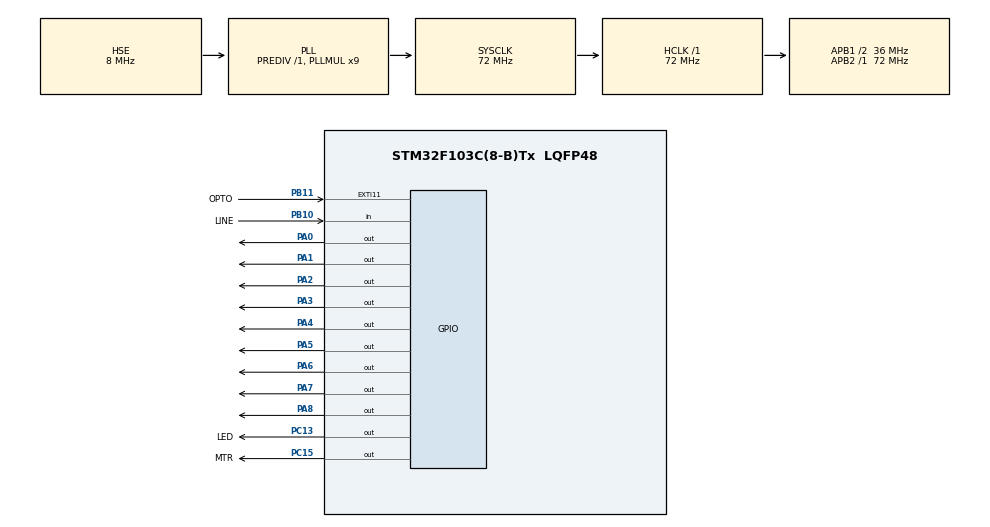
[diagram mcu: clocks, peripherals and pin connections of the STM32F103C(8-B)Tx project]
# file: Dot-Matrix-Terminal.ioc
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Mcu.Family=STM32F1
Mcu.Name=STM32F103C(8-B)Tx
Mcu.Package=LQFP48
NVIC.EXTI15_10_IRQn=true\:0\:0\:false\:true\:true\:1\:true\:true\:true
NVIC.PriorityGroup=NVIC_PRIORITYGROUP_4
NVIC.TIM2_IRQn=true\:0\:0\:false\:false\:true\:true\:true\:true
PA0-WKUP.Signal=GPIO_Output
PA1.Signal=GPIO_Output
PA13.Mode=Serial_Wire
PA13.Signal=SYS_JTMS-SWDIO
PA14.Mode=Serial_Wire
PA14.Signal=SYS_JTCK-SWCLK
PA2.Signal=GPIO_Output
PA3.Signal=GPIO_Output
PA4.Signal=GPIO_Output
PA5.Signal=GPIO_Output
PA6.Signal=GPIO_Output
PA7.Signal=GPIO_Output
PA8.Signal=GPIO_Output
PB10.GPIO_Label=LINE
PB10.Signal=GPIO_Input
PB11.GPIO_Label=OPTO
PB11.GPIO_ModeDefaultEXTI=GPIO_MODE_IT_RISING
PB11.GPIO_PuPd=GPIO_PULLUP
PB11.Signal=GPXTI11
PC13-TAMPER-RTC.GPIO_Label=LED
PC13-TAMPER-RTC.Signal=GPIO_Output
PC15-OSC32_OUT.GPIO_Label=MTR
PC15-OSC32_OUT.Signal=GPIO_Output
PD0-OSC_IN.Mode=HSE-External-Oscillator
PD0-OSC_IN.Signal=RCC_OSC_IN
PD1-OSC_OUT.Mode=HSE-External-Oscillator
PD1-OSC_OUT.Signal=RCC_OSC_OUT
ProjectManager.HeapSize=0x200
ProjectManager.StackSize=0x400
ProjectManager.TargetToolchain=Makefile
RCC.AHBFreq_Value=72000000
RCC.APB1CLKDivider=RCC_HCLK_DIV2
RCC.APB1Freq_Value=36000000
RCC.APB1TimFreq_Value=72000000
RCC.APB2Freq_Value=72000000
RCC.APB2TimFreq_Value=72000000
RCC.HCLKFreq_Value=72000000
RCC.PLLMUL=RCC_PLL_MUL9
RCC.PLLSourceVirtual=RCC_PLLSOURCE_HSE
RCC.SYSCLKFreq_VALUE=72000000
RCC.SYSCLKSource=RCC_SYSCLKSOURCE_PLLCLK
RCC.USBFreq_Value=72000000
TIM2.Channel-Output\ Compare1\ No\ Output=TIM_CHANNEL_1
TIM2.Period=10000
TIM2.Prescaler=7199
VP_TIM2_VS_ClockSourceINT.Mode=Internal
VP_TIM2_VS_OPM.Mode=OPM_bit
VP_TIM2_VS_no_output1.Mode=Output Compare1 No Output
board=custom

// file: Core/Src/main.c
/* USER CODE BEGIN Header */
/**
  ******************************************************************************
  * @file           : main.c
  * @brief          : Main program body
  ******************************************************************************
  * @attention
  *
  * Copyright (c) 2024 STMicroelectronics.
  * All rights reserved.
  *
  * This software is licensed under terms that can be found in the LICENSE file
  * in the root directory of this software component.
  * If no LICENSE file comes with this software, it is provided AS-IS.
  *
  ******************************************************************************
  */
/* USER CODE END Header */
#include "main.h"
#include "PrinterFont.h"

TIM_HandleTypeDef htim2;

void SystemClock_Config(void);
static void MX_GPIO_Init(void);
static void MX_TIM2_Init(void);
static void MX_NVIC_Init(void);

int main(void)
{

  /* MCU Configuration--------------------------------------------------------*/

  /* Reset of all peripherals, Initializes the Flash interface and the Systick. */
  HAL_Init();

  /* Configure the system clock */
  SystemClock_Config();

  /* Initialize all configured peripherals */
  MX_GPIO_Init();
  MX_TIM2_Init();

  /* Initialize interrupts */
  MX_NVIC_Init();

  /* Infinite loop */
  while (1)
  {

  }
}

void SystemClock_Config(void)
{
  RCC_OscInitTypeDef RCC_OscInitStruct = {0};
  RCC_ClkInitTypeDef RCC_ClkInitStruct = {0};

  /** Initializes the RCC Oscillators according to the specified parameters
  * in the RCC_OscInitTypeDef structure.
  */
  RCC_OscInitStruct.OscillatorType = RCC_OSCILLATORTYPE_HSE;
  RCC_OscInitStruct.HSEState = RCC_HSE_ON;
  RCC_OscInitStruct.HSEPredivValue = RCC_HSE_PREDIV_DIV1;
  RCC_OscInitStruct.HSIState = RCC_HSI_ON;
  RCC_OscInitStruct.PLL.PLLState = RCC_PLL_ON;
  RCC_OscInitStruct.PLL.PLLSource = RCC_PLLSOURCE_HSE;
  RCC_OscInitStruct.PLL.PLLMUL = RCC_PLL_MUL9;
  if (HAL_RCC_OscConfig(&RCC_OscInitStruct) != HAL_OK)
  {
    Error_Handler();
  }

  /** Initializes the CPU, AHB and APB buses clocks
  */
  RCC_ClkInitStruct.ClockType = RCC_CLOCKTYPE_HCLK|RCC_CLOCKTYPE_SYSCLK
                              |RCC_CLOCKTYPE_PCLK1|RCC_CLOCKTYPE_PCLK2;
  RCC_ClkInitStruct.SYSCLKSource = RCC_SYSCLKSOURCE_PLLCLK;
  RCC_ClkInitStruct.AHBCLKDivider = RCC_SYSCLK_DIV1;
  RCC_ClkInitStruct.APB1CLKDivider = RCC_HCLK_DIV2;
  RCC_ClkInitStruct.APB2CLKDivider = RCC_HCLK_DIV1;

  if (HAL_RCC_ClockConfig(&RCC_ClkInitStruct, FLASH_LATENCY_2) != HAL_OK)
  {
    Error_Handler();
  }
}

/**
  * @brief NVIC Configuration.
  * @retval None
  */
static void MX_NVIC_Init(void)
{
  /* EXTI15_10_IRQn interrupt configuration */
  HAL_NVIC_SetPriority(EXTI15_10_IRQn, 0, 0);
  HAL_NVIC_EnableIRQ(EXTI15_10_IRQn);
}

static void MX_TIM2_Init(void)
{

  TIM_ClockConfigTypeDef sClockSourceConfig = {0};
  TIM_MasterConfigTypeDef sMasterConfig = {0};
  TIM_OC_InitTypeDef sConfigOC = {0};

  htim2.Instance = TIM2;
  htim2.Init.Prescaler = 7199;
  htim2.Init.CounterMode = TIM_COUNTERMODE_UP;
  htim2.Init.Period = 10000;
  htim2.Init.ClockDivision = TIM_CLOCKDIVISION_DIV1;
  htim2.Init.AutoReloadPreload = TIM_AUTORELOAD_PRELOAD_DISABLE;
  if (HAL_TIM_Base_Init(&htim2) != HAL_OK)
  {
    Error_Handler();
  }
  sClockSourceConfig.ClockSource = TIM_CLOCKSOURCE_INTERNAL;
  if (HAL_TIM_ConfigClockSource(&htim2, &sClockSourceConfig) != HAL_OK)
  {
    Error_Handler();
  }
  if (HAL_TIM_OC_Init(&htim2) != HAL_OK)
  {
    Error_Handler();
  }
  if (HAL_TIM_OnePulse_Init(&htim2, TIM_OPMODE_SINGLE) != HAL_OK)
  {
    Error_Handler();
  }
  sMasterConfig.MasterOutputTrigger = TIM_TRGO_RESET;
  sMasterConfig.MasterSlaveMode = TIM_MASTERSLAVEMODE_DISABLE;
  if (HAL_TIMEx_MasterConfigSynchronization(&htim2, &sMasterConfig) != HAL_OK)
  {
    Error_Handler();
  }
  sConfigOC.OCMode = TIM_OCMODE_TIMING;
  sConfigOC.Pulse = 0;
  sConfigOC.OCPolarity = TIM_OCPOLARITY_HIGH;
  sConfigOC.OCFastMode = TIM_OCFAST_DISABLE;
  if (HAL_TIM_OC_ConfigChannel(&htim2, &sConfigOC, TIM_CHANNEL_1) != HAL_OK)
  {
    Error_Handler();
  }

}

static void MX_GPIO_Init(void)
{
  GPIO_InitTypeDef GPIO_InitStruct = {0};

  /* GPIO Ports Clock Enable */
  __HAL_RCC_GPIOC_CLK_ENABLE();
  __HAL_RCC_GPIOD_CLK_ENABLE();
  __HAL_RCC_GPIOA_CLK_ENABLE();
  __HAL_RCC_GPIOB_CLK_ENABLE();

  /*Configure GPIO pin Output Level */
  HAL_GPIO_WritePin(GPIOC, LED_Pin|MTR_Pin, GPIO_PIN_RESET);

  /*Configure GPIO pin Output Level */
  HAL_GPIO_WritePin(GPIOA, GPIO_PIN_0|GPIO_PIN_1|GPIO_PIN_2|GPIO_PIN_3
                          |GPIO_PIN_4|GPIO_PIN_5|GPIO_PIN_6|GPIO_PIN_7
                          |GPIO_PIN_8, GPIO_PIN_RESET);

  /*Configure GPIO pins : LED_Pin MTR_Pin */
  GPIO_InitStruct.Pin = LED_Pin|MTR_Pin;
  GPIO_InitStruct.Mode = GPIO_MODE_OUTPUT_PP;
  GPIO_InitStruct.Pull = GPIO_NOPULL;
  GPIO_InitStruct.Speed = GPIO_SPEED_FREQ_LOW;
  HAL_GPIO_Init(GPIOC, &GPIO_InitStruct);

  /*Configure GPIO pins : PA0 PA1 PA2 PA3
                           PA4 PA5 PA6 PA7
                           PA8 */
  GPIO_InitStruct.Pin = GPIO_PIN_0|GPIO_PIN_1|GPIO_PIN_2|GPIO_PIN_3
                          |GPIO_PIN_4|GPIO_PIN_5|GPIO_PIN_6|GPIO_PIN_7
                          |GPIO_PIN_8;
  GPIO_InitStruct.Mode = GPIO_MODE_OUTPUT_PP;
  GPIO_InitStruct.Pull = GPIO_NOPULL;
  GPIO_InitStruct.Speed = GPIO_SPEED_FREQ_LOW;
  HAL_GPIO_Init(GPIOA, &GPIO_InitStruct);

  /*Configure GPIO pin : LINE_Pin */
  GPIO_InitStruct.Pin = LINE_Pin;
  GPIO_InitStruct.Mode = GPIO_MODE_INPUT;
  GPIO_InitStruct.Pull = GPIO_NOPULL;
  HAL_GPIO_Init(LINE_GPIO_Port, &GPIO_InitStruct);

  /*Configure GPIO pin : OPTO_Pin */
  GPIO_InitStruct.Pin = OPTO_Pin;
  GPIO_InitStruct.Mode = GPIO_MODE_IT_RISING;
  GPIO_InitStruct.Pull = GPIO_PULLUP;
  HAL_GPIO_Init(OPTO_GPIO_Port, &GPIO_InitStruct);

}

/* USER CODE BEGIN 4 */
void HAL_GPIO_EXTI_Callback(uint16_t GPIO_Pin)
{
  static uint8_t counter = 0;
  static uint16_t column = 0;

  if(GPIO_Pin == OPTO_Pin)
  {
    GPIO_PinState line = HAL_GPIO_ReadPin(GPIOB, LINE_Pin);
    if(line == GPIO_PIN_RESET)
    {
      counter = 0;
      column = 0;
    }
    //HAL_GPIO_WritePin(GPIOC, GPIO_PIN_13, GPIO_PIN_RESET);
    HAL_GPIO_WritePin(GPIOA, 0xFF, GPIO_PIN_RESET);
    counter++;
    if((counter >= 2) && (column < 240))
    {
      HAL_GPIO_WritePin(GPIOA, font[column], GPIO_PIN_SET);
      //HAL_GPIO_WritePin(GPIOA, 0xFF&(0x01<<(column>>3)), GPIO_PIN_SET);
      counter = 0;
      column++;
    }
    //HAL_TIM_OnePulse_Start_IT(&htim2, TIM_CHANNEL_3);

  } else {
      __NOP();
  }
}
/* USER CODE END 4 */

void Error_Handler(void)
{
  __disable_irq();
  while (1)
  {
  }
}
